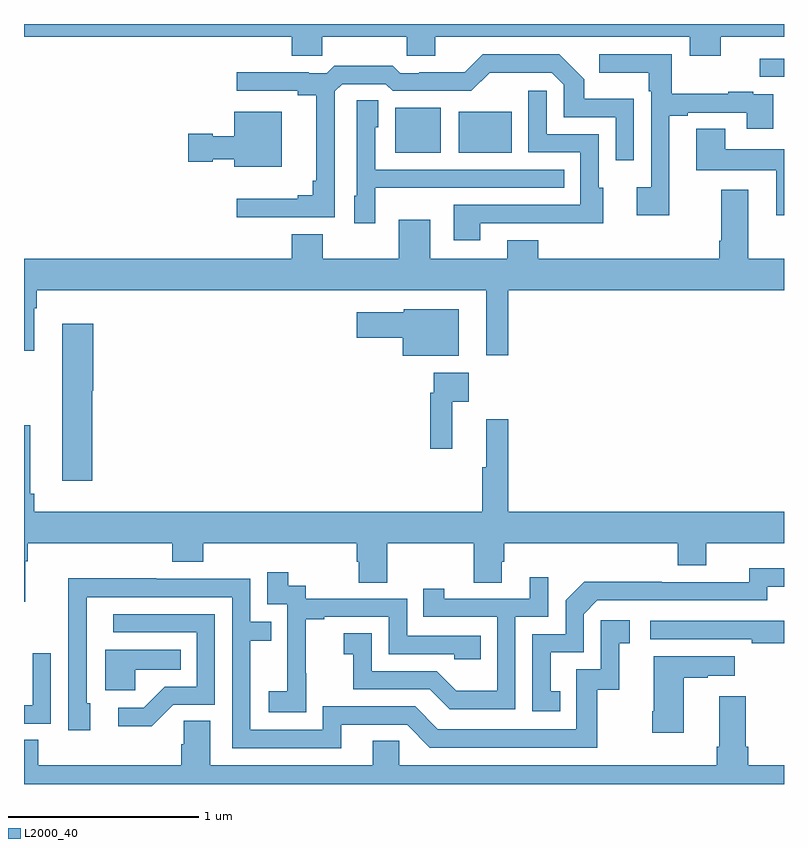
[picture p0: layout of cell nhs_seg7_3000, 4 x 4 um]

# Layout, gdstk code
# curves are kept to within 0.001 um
import gdstk
lib = gdstk.Library(unit=1e-6, precision=1e-09)
def R(c, l, rs):  # rectangles x0, y0, x1, y1
    for r in rs: c.add(gdstk.rectangle(r[:2], r[2:], *l))
def P(c, l, *ps):  # polygons
    for p in ps: c.add(gdstk.Polygon(p, *l))
L2000_40 = (2000, 40)

nhs_seg7_3000 = lib.new_cell('nhs_seg7_3000')
R(nhs_seg7_3000, L2000_40, [(304.955,1017.323,305.194,1017.559), (305.288,1017.323,305.566,1017.538), (306.873,1017.723,307,1017.817)])
P(nhs_seg7_3000, L2000_40, [(306.667,1017.932),(307,1017.932),(307,1018),(303,1018),(303,1017.932),(304.409,1017.932),(304.409,1017.834),(304.569,1017.834),(304.569,1017.932),(305.014,1017.932),(305.014,1017.834),(305.164,1017.834),(305.164,1017.932),(306.503,1017.932),(306.503,1017.833),(306.667,1017.833)],
  [(304.635,1017.645),(304.674,1017.684),(304.905,1017.684),(304.941,1017.648),(305.355,1017.648),(305.45,1017.743),(305.778,1017.744),(305.841,1017.681),(305.841,1017.51),(306.114,1017.51),(306.114,1017.282),(306.21,1017.282),(306.21,1017.607),(305.949,1017.607),(305.949,1017.71),(305.818,1017.84),(305.415,1017.84),(305.321,1017.746),(305.08,1017.746),(305.08,1017.741),(304.98,1017.741),(304.941,1017.781),(304.633,1017.781),(304.593,1017.741),(304.499,1017.741),(304.499,1017.746),(304.119,1017.746),(304.119,1017.648),(304.442,1017.648),(304.442,1017.626),(304.538,1017.626),(304.538,1017.175),(304.519,1017.175),(304.519,1017.098),(304.442,1017.098),(304.442,1017.079),(304.119,1017.079),(304.119,1016.982),(304.635,1016.982)],
  [(306.397,1017.516),(306.493,1017.516),(306.493,1017.534),(306.803,1017.534),(306.803,1017.45),(306.943,1017.45),(306.943,1017.63),(306.839,1017.63),(306.839,1017.643),(306.707,1017.643),(306.707,1017.632),(306.409,1017.632),(306.409,1017.84),(306.027,1017.84),(306.027,1017.743),(306.288,1017.743),(306.288,1017.647),(306.3,1017.647),(306.3,1017.142),(306.225,1017.142),(306.225,1016.994),(306.397,1016.994)],
  [(305.401,1016.952),(305.831,1016.952),(305.831,1016.951),(306.049,1016.951),(306.049,1017.138),(306.024,1017.138),(306.024,1017.42),(305.751,1017.42),(305.751,1017.649),(305.655,1017.649),(305.655,1017.324),(305.928,1017.324),(305.928,1017.048),(305.261,1017.048),(305.261,1016.862),(305.401,1016.862)],
  [(304.848,1017.137),(305.165,1017.137),(305.165,1017.138),(305.843,1017.138),(305.843,1017.234),(304.848,1017.234),(304.848,1017.456),(304.864,1017.456),(304.864,1017.599),(304.752,1017.599),(304.752,1017.096),(304.739,1017.096),(304.739,1016.952),(304.848,1016.952)],
  [(304.357,1017.538),(304.106,1017.538),(304.106,1017.409),(303.993,1017.409),(303.993,1017.422),(303.864,1017.422),(303.864,1017.275),(303.993,1017.275),(303.993,1017.287),(304.106,1017.287),(304.106,1017.248),(304.357,1017.248)],
  [(307,1017.34),(306.691,1017.34),(306.691,1017.449),(306.539,1017.449),(306.539,1017.23),(306.959,1017.23),(306.959,1016.994),(307,1016.994)],
  [(305.549,1016.6),(307,1016.6),(307,1016.764),(306.811,1016.764),(306.811,1017.127),(306.671,1017.127),(306.671,1016.86),(306.659,1016.86),(306.659,1016.764),(305.707,1016.764),(305.707,1016.863),(305.543,1016.863),(305.543,1016.764),(305.137,1016.764),(305.137,1016.971),(304.973,1016.971),(304.973,1016.764),(304.573,1016.764),(304.573,1016.893),(304.409,1016.893),(304.409,1016.764),(303,1016.764),(303,1016.28),(303.055,1016.28),(303.055,1016.504),(303.068,1016.504),(303.068,1016.6),(305.432,1016.6),(305.432,1016.256),(305.549,1016.256)],
  [(305.287,1016.5),(304.998,1016.5),(304.998,1016.482),(304.752,1016.482),(304.752,1016.348),(304.994,1016.348),(304.994,1016.255),(305.287,1016.255)],
  [(303.359,1016.07),(303.364,1016.07),(303.364,1016.422),(303.2,1016.422),(303.2,1015.596),(303.359,1015.596)],
  [(305.255,1016.012),(305.341,1016.012),(305.341,1016.164),(305.157,1016.164),(305.157,1016.06),(305.137,1016.06),(305.137,1015.764),(305.255,1015.764)],
  [(303.007,1015.172),(303.02,1015.172),(303.02,1015.268),(303.779,1015.268),(303.779,1015.169),(303.944,1015.169),(303.944,1015.268),(304.751,1015.268),(304.751,1015.17),(304.763,1015.17),(304.763,1015.06),(304.911,1015.06),(304.911,1015.268),(305.368,1015.268),(305.368,1015.06),(305.515,1015.06),(305.515,1015.17),(305.528,1015.17),(305.528,1015.268),(306.44,1015.268),(306.44,1015.151),(306.592,1015.151),(306.592,1015.268),(307,1015.268),(307,1015.432),(305.549,1015.432),(305.549,1015.921),(305.432,1015.921),(305.432,1015.668),(305.413,1015.668),(305.413,1015.432),(303.053,1015.432),(303.053,1015.528),(303.034,1015.528),(303.034,1015.888),(303,1015.888),(303,1014.959),(303.007,1014.959)],
  [(305.822,1014.489),(305.773,1014.489),(305.773,1014.693),(305.946,1014.693),(305.946,1014.894),(306.018,1014.966),(306.912,1014.966),(306.912,1015.038),(307,1015.038),(307,1015.135),(306.816,1015.135),(306.816,1015.062),(306.356,1015.062),(306.356,1015.064),(305.948,1015.064),(305.85,1014.966),(305.85,1014.789),(305.676,1014.789),(305.676,1014.384),(305.822,1014.384)],
  [(304.485,1014.583),(304.484,1014.583),(304.484,1014.867),(304.579,1014.867),(304.579,1014.879),(304.92,1014.879),(304.92,1014.684),(305.265,1014.684),(305.265,1014.657),(305.405,1014.657),(305.405,1014.78),(305.016,1014.78),(305.016,1014.975),(304.482,1014.975),(304.482,1015.044),(304.39,1015.044),(304.39,1015.114),(304.281,1015.114),(304.281,1014.945),(304.386,1014.945),(304.386,1014.716),(304.385,1014.716),(304.385,1014.487),(304.287,1014.487),(304.287,1014.377),(304.485,1014.377)],
  [(305.586,1014.879),(305.76,1014.879),(305.76,1015.087),(305.663,1015.087),(305.663,1014.975),(305.212,1014.975),(305.212,1015.027),(305.101,1015.027),(305.101,1014.879),(305.49,1014.879),(305.49,1014.49),(305.276,1014.49),(305.172,1014.594),(304.83,1014.594),(304.83,1014.793),(304.683,1014.793),(304.683,1014.683),(304.732,1014.683),(304.732,1014.498),(305.135,1014.498),(305.24,1014.393),(305.586,1014.393)],
  [(304.669,1014.312),(305.016,1014.312),(305.136,1014.192),(306.016,1014.192),(306.016,1014.495),(306.134,1014.495),(306.134,1014.741),(306.187,1014.741),(306.187,1014.862),(306.036,1014.862),(306.036,1014.603),(305.907,1014.603),(305.907,1014.288),(305.178,1014.288),(305.058,1014.408),(304.572,1014.408),(304.572,1014.285),(304.191,1014.285),(304.191,1014.754),(304.301,1014.754),(304.301,1014.855),(304.191,1014.855),(304.191,1015.08),(303.695,1015.08),(303.695,1015.082),(303.232,1015.082),(303.232,1014.775),(303.234,1014.775),(303.234,1014.282),(303.349,1014.282),(303.349,1014.426),(303.33,1014.426),(303.331,1014.984),(304.095,1014.984),(304.095,1014.189),(304.669,1014.189)],
  [(303.786,1014.417),(304.005,1014.417),(304.005,1014.894),(303.471,1014.894),(303.471,1014.798),(303.909,1014.798),(303.909,1014.513),(303.74,1014.513),(303.629,1014.402),(303.495,1014.402),(303.495,1014.305),(303.673,1014.305)],
  [(307,1014.858),(306.297,1014.858),(306.297,1014.762),(306.829,1014.762),(306.829,1014.742),(307,1014.742)],
  [(303.585,1014.602),(303.824,1014.602),(303.824,1014.706),(303.428,1014.706),(303.428,1014.494),(303.585,1014.494)],
  [(303.141,1014.688),(303.045,1014.688),(303.045,1014.414),(303,1014.414),(303,1014.318),(303.141,1014.318)],
  [(306.472,1014.559),(306.599,1014.559),(306.599,1014.569),(306.742,1014.569),(306.742,1014.673),(306.314,1014.673),(306.314,1014.382),(306.307,1014.382),(306.307,1014.27),(306.472,1014.27)],
  [(303.84,1014.332),(303.84,1014.209),(303.827,1014.209),(303.827,1014.1),(303.074,1014.1),(303.074,1014.233),(303,1014.233),(303,1014),(307,1014),(307,1014.1),(306.812,1014.1),(306.812,1014.196),(306.799,1014.196),(306.799,1014.463),(306.659,1014.463),(306.659,1014.196),(306.647,1014.196),(306.647,1014.1),(304.974,1014.1),(304.974,1014.227),(304.835,1014.227),(304.835,1014.1),(303.979,1014.1),(303.979,1014.332)])

lib.write_gds('nhs_seg7_3000.gds')
